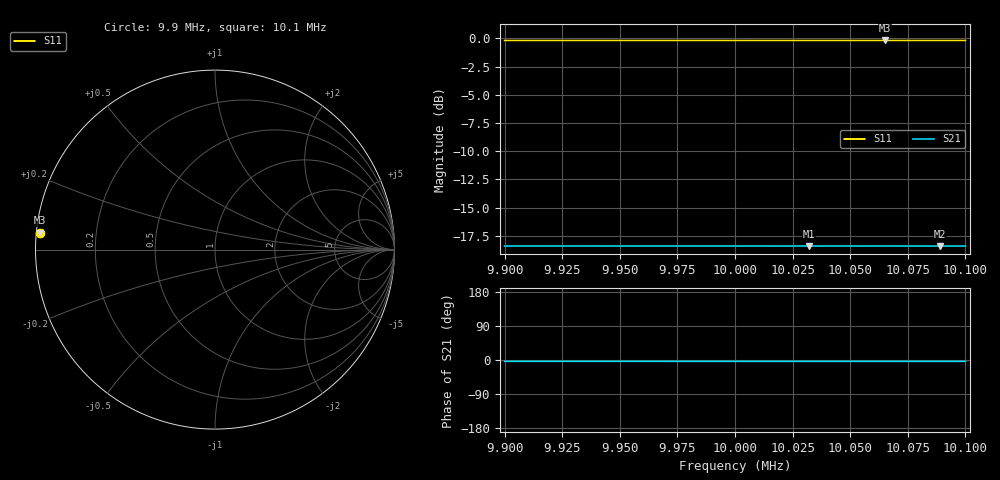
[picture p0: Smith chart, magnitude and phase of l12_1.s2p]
! NanoVNA-App
! Date: 2026-10-13 22:04:33
! Start: 9,9MHz Stop: 10,1MHz Points: 401
! S-Parameter data: F S11 S21 S12 S22
# Hz S RI R 50
!  Frequency  S11_Real  S11_Imag  S21_Real  S21_Imag  S12_Real  S12_Imag  S22_Real  S22_Imag
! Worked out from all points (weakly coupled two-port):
!   401 points, 9.9 MHz to 10.1 MHz, reference 50 ohm
!   highest |S21| = -18.39 dB at 10.032 MHz (marker M1); lowest = -18.4 dB at 10.089 MHz (marker M2)
!   lowest |S11| = -0.2 dB at 10.065 MHz (marker M3), VSWR 92.79, Z = 0.54 + j2.4 ohm
!   |S11| at or under -10 dB: nowhere
!   S12 and S22 are empty: the file has one direction only
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9900000  -0.9746 0.0921  0.12 -0.00753  0 0  0 0
9914500  -0.9745 0.0922  0.12 -0.00762  0 0  0 0
9926500  -0.9746 0.0924  0.1198 -0.00759  0 0  0 0
9933500  -0.9745 0.0924  0.12 -0.00763  0 0  0 0
9967000  -0.9744 0.0928  0.1199 -0.00759  0 0  0 0
9980000  -0.9744 0.093  0.12 -0.00757  0 0  0 0
9990500  -0.9745 0.0929  0.12 -0.00763  0 0  0 0
9997000  -0.9744 0.093  0.12 -0.00767  0 0  0 0
1e7  -0.9744 0.0931  0.1199 -0.00759  0 0  0 0
1.0032e7  -0.9744 0.0934  0.1201 -0.00773  0 0  0 0
1.00335e7  -0.9743 0.0933  0.12 -0.00772  0 0  0 0
1.00485e7  -0.9744 0.0934  0.1199 -0.0077  0 0  0 0
1.00515e7  -0.9743 0.0934  0.1198 -0.00767  0 0  0 0
1.00595e7  -0.9743 0.0935  0.12 -0.00775  0 0  0 0
1.0065e7  -0.9742 0.0937  0.1199 -0.00772  0 0  0 0
1.0067e7  -0.9743 0.0936  0.12 -0.00772  0 0  0 0
1.00695e7  -0.9743 0.0936  0.1199 -0.00773  0 0  0 0
1.0089e7  -0.9744 0.0939  0.1198 -0.00768  0 0  0 0
1.00915e7  -0.9743 0.0939  0.1198 -0.00765  0 0  0 0
1.0094e7  -0.9743 0.0939  0.1199 -0.00771  0 0  0 0
1.0098e7  -0.9743 0.094  0.1199 -0.00768  0 0  0 0
1.01e7  -0.9742 0.0939  0.12 -0.00774  0 0  0 0
